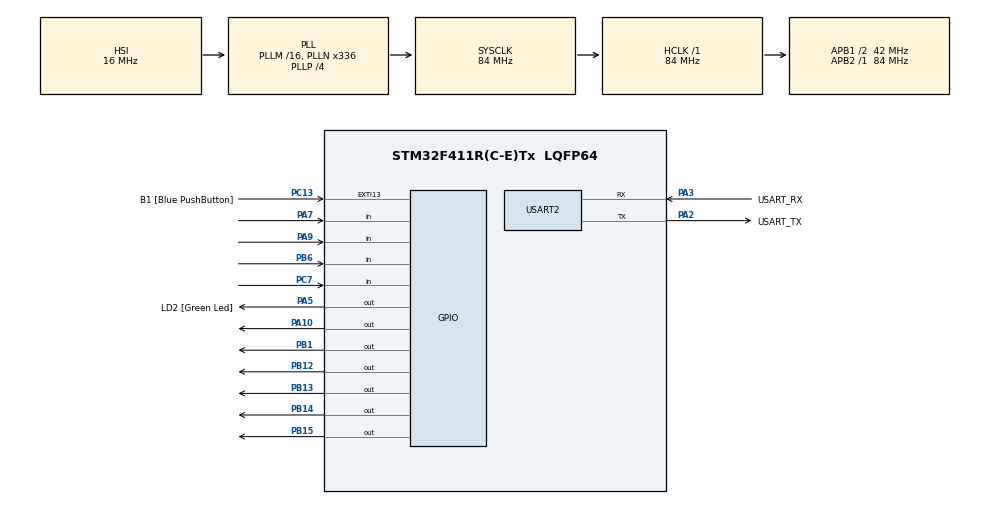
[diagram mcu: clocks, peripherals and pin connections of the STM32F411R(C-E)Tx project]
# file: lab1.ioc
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Mcu.Family=STM32F4
Mcu.Name=STM32F411R(C-E)Tx
Mcu.Package=LQFP64
NVIC.PriorityGroup=NVIC_PRIORITYGROUP_0
PA10.Signal=GPIO_Output
PA13.GPIO_Label=TMS
PA13.Mode=Serial_Wire
PA13.Signal=SYS_JTMS-SWDIO
PA14.GPIO_Label=TCK
PA14.Mode=Serial_Wire
PA14.Signal=SYS_JTCK-SWCLK
PA2.GPIO_Label=USART_TX
PA2.Mode=Asynchronous
PA2.Signal=USART2_TX
PA3.GPIO_Label=USART_RX
PA3.Mode=Asynchronous
PA3.Signal=USART2_RX
PA5.GPIO_Label=LD2 [Green Led]
PA5.Signal=GPIO_Output
PA7.GPIO_PuPd=GPIO_PULLUP
PA7.Signal=GPIO_Input
PA9.GPIO_PuPd=GPIO_PULLUP
PA9.Signal=GPIO_Input
PB1.GPIO_ModeDefaultOutputPP=GPIO_MODE_OUTPUT_OD
PB1.GPIO_PuPd=GPIO_NOPULL
PB1.Signal=GPIO_Output
PB12.Signal=GPIO_Output
PB13.GPIO_ModeDefaultOutputPP=GPIO_MODE_OUTPUT_OD
PB13.GPIO_PuPd=GPIO_NOPULL
PB13.Signal=GPIO_Output
PB14.GPIO_ModeDefaultOutputPP=GPIO_MODE_OUTPUT_OD
PB14.GPIO_PuPd=GPIO_NOPULL
PB14.Signal=GPIO_Output
PB15.GPIO_ModeDefaultOutputPP=GPIO_MODE_OUTPUT_OD
PB15.GPIO_PuPd=GPIO_NOPULL
PB15.Signal=GPIO_Output
PB3.GPIO_Label=SWO
PB3.Signal=SYS_JTDO-SWO
PB6.GPIO_PuPd=GPIO_PULLUP
PB6.Signal=GPIO_Input
PC13-ANTI_TAMP.GPIO_Label=B1 [Blue PushButton]
PC13-ANTI_TAMP.GPIO_ModeDefaultEXTI=GPIO_MODE_IT_FALLING
PC13-ANTI_TAMP.Signal=GPXTI13
PC14-OSC32_IN.Mode=LSE-External-Oscillator
PC14-OSC32_IN.Signal=RCC_OSC32_IN
PC15-OSC32_OUT.Mode=LSE-External-Oscillator
PC15-OSC32_OUT.Signal=RCC_OSC32_OUT
PC7.GPIO_PuPd=GPIO_PULLUP
PC7.Signal=GPIO_Input
PH0\ -\ OSC_IN.Mode=HSE-External-Clock-Source
PH0\ -\ OSC_IN.Signal=RCC_OSC_IN
PH1\ -\ OSC_OUT.Mode=HSE-External-Clock-Source
PH1\ -\ OSC_OUT.Signal=RCC_OSC_OUT
ProjectManager.HeapSize=0x200
ProjectManager.StackSize=0x400
ProjectManager.TargetToolchain=STM32CubeIDE
RCC.48MHZClocksFreq_Value=84000000
RCC.AHBFreq_Value=84000000
RCC.APB1CLKDivider=RCC_HCLK_DIV2
RCC.APB1Freq_Value=42000000
RCC.APB1TimFreq_Value=84000000
RCC.APB2Freq_Value=84000000
RCC.APB2TimFreq_Value=84000000
RCC.CortexFreq_Value=84000000
RCC.FLatency-AdvancedSettings=FLASH_LATENCY_2
RCC.HCLKFreq_Value=84000000
RCC.HSE_VALUE=8000000
RCC.HSI_VALUE=16000000
RCC.PLLN=336
RCC.PLLP=RCC_PLLP_DIV4
RCC.SYSCLKFreq_VALUE=84000000
RCC.SYSCLKSource=RCC_SYSCLKSOURCE_PLLCLK
RCC.VCOOutputFreq_Value=336000000
USART2.VirtualMode=VM_ASYNC
board=NUCLEO-F411RE

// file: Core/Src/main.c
/* USER CODE BEGIN Header */
/**
 ******************************************************************************
 * @file           : main.c
 * @brief          : Main program body
 ******************************************************************************
 * @attention
 *
 * Copyright (c) 2023 STMicroelectronics.
 * All rights reserved.
 *
 * This software is licensed under terms that can be found in the LICENSE file
 * in the root directory of this software component.
 * If no LICENSE file comes with this software, it is provided AS-IS.
 *
 ******************************************************************************
 */
/* USER CODE END Header */
#include "main.h"

UART_HandleTypeDef huart2;

/* USER CODE BEGIN PV */
struct PortPin {
	GPIO_TypeDef *PORT;
	uint16_t PIN;
};

struct PortPin R[4] = { { GPIOB, GPIO_PIN_13 },
						{ GPIOB, GPIO_PIN_14 },
						{ GPIOB, GPIO_PIN_15 },
						{ GPIOB, GPIO_PIN_1 } };

struct PortPin L[4] = { { GPIOA, GPIO_PIN_9 },
						{ GPIOC, GPIO_PIN_7 },
						{ GPIOB, GPIO_PIN_6 },
						{ GPIOA, GPIO_PIN_7 } };

uint16_t ButtonMatrix = 0, ButtonMatrix_L = 0;
int Input_st = 0, state_st = 0;
int CLK_F = 0, M_c = 0;

/* USER CODE END PV */

void SystemClock_Config(void);
static void MX_GPIO_Init(void);
static void MX_USART2_UART_Init(void);
/* USER CODE BEGIN PFP */
void ReadMatrixButtton_1Row();
/* USER CODE END PFP */

int main(void) {

	/* MCU Configuration--------------------------------------------------------*/

	/* Reset of all peripherals, Initializes the Flash interface and the Systick. */
	HAL_Init();

	/* Configure the system clock */
	SystemClock_Config();

	/* Initialize all configured peripherals */
	MX_GPIO_Init();
	MX_USART2_UART_Init();

	/* Infinite loop */
	while (1) {

		/* USER CODE BEGIN 3 */

		static uint32_t timestamp = 0;
		if (HAL_GetTick() >= timestamp) {
			timestamp = HAL_GetTick() + 10;
			ReadMatrixButtton_1Row();
		}

		if (ButtonMatrix > ButtonMatrix_L) {
			CLK_F = 1;
		} else {
			CLK_F = 0;
		}
		ButtonMatrix_L = ButtonMatrix;

		switch (Input_st) {
		case (0):
			state_st = 0;
			HAL_GPIO_WritePin(GPIOA, GPIO_PIN_5, 0);
			if (CLK_F == 1) {
				if (ButtonMatrix == 0x200) {
					Input_st = 1;
				} else if (ButtonMatrix == 0x1000) {
					Input_st = 0;
				} else if (ButtonMatrix == 0x2000) {
					Input_st = 0;
				} else if (ButtonMatrix == 0x8000) {
					Input_st = 0;
				} else if (ButtonMatrix == 0) {
					Input_st = 0;
				} else {
					Input_st = 12;
				}
			}
			break;
		case (1):
			state_st = 1;
			HAL_GPIO_WritePin(GPIOA, GPIO_PIN_5, 0);
			if (CLK_F == 1) {
				if (ButtonMatrix == 0x2) {
					Input_st = 2;
				} else if (ButtonMatrix == 0x1000) {
					Input_st = 0;
				} else if (ButtonMatrix == 0x2000) {
					Input_st = 0;
				} else if (ButtonMatrix == 0x8000) {
					Input_st = 1;
				} else if (ButtonMatrix == 0) {
					Input_st = 1;
				} else {
					Input_st = 12;
				}
			}
			break;
		case (2):
			state_st = 2;
			HAL_GPIO_WritePin(GPIOA, GPIO_PIN_5, 0);
			if (CLK_F == 1) {
				if (ButtonMatrix == 0x400) {
					Input_st = 3;
				} else if (ButtonMatrix == 0x1000) {
					Input_st = 0;
				} else if (ButtonMatrix == 0x2000) {
					Input_st = 1;
				} else if (ButtonMatrix == 0x8000) {
					Input_st = 2;
				} else if (ButtonMatrix == 0) {
					Input_st = 2;
				} else {
					Input_st = 12;
				}
			}
			break;
		case (3):
			state_st = 3;
			HAL_GPIO_WritePin(GPIOA, GPIO_PIN_5, 0);
			if (CLK_F == 1) {
				if (ButtonMatrix == 0x2) {
					Input_st = 4;
				} else if (ButtonMatrix == 0x1000) {
					Input_st = 0;
				} else if (ButtonMatrix == 0x2000) {
					Input_st = 2;
				} else if (ButtonMatrix == 0x8000) {
					Input_st = 3;
				} else if (ButtonMatrix == 0) {
					Input_st = 3;
				} else {
					Input_st = 12;
				}
			}
			break;
		case (4):
			state_st = 4;
			HAL_GPIO_WritePin(GPIOA, GPIO_PIN_5, 0);
			if (CLK_F == 1) {
				if (ButtonMatrix == 0x8) {
					Input_st = 5;
				} else if (ButtonMatrix == 0x1000) {
					Input_st = 0;
				} else if (ButtonMatrix == 0x2000) {
					Input_st = 3;
				} else if (ButtonMatrix == 0x8000) {
					Input_st = 4;
				} else if (ButtonMatrix == 0) {
					Input_st = 4;
				} else {
					Input_st = 12;
				}
			}
			break;
		case (5):
			state_st = 5;
			HAL_GPIO_WritePin(GPIOA, GPIO_PIN_5, 0);
			if (CLK_F == 1) {
				if (ButtonMatrix == 0x20) {
					Input_st = 6;
				} else if (ButtonMatrix == 0x1000) {
					Input_st = 0;
				} else if (ButtonMatrix == 0x2000) {
					Input_st = 4;
				} else if (ButtonMatrix == 0x8000) {
					Input_st = 5;
				} else if (ButtonMatrix == 0) {
					Input_st = 5;
				} else {
					Input_st = 12;
				}
			}
			break;
		case (6):
			state_st = 6;
			HAL_GPIO_WritePin(GPIOA, GPIO_PIN_5, 0);
			if (CLK_F == 1) {
				if (ButtonMatrix == 0x8) {
					Input_st = 7;
				} else if (ButtonMatrix == 0x1000) {
					Input_st = 0;
				} else if (ButtonMatrix == 0x2000) {
					Input_st = 5;
				} else if (ButtonMatrix == 0x8000) {
					Input_st = 6;
				} else if (ButtonMatrix == 0) {
					Input_st = 6;
				} else {
					Input_st = 12;
				}
			}
			break;
		case (7):
			state_st = 7;
			HAL_GPIO_WritePin(GPIOA, GPIO_PIN_5, 0);
			if (CLK_F == 1) {
				if (ButtonMatrix == 0x8) {
					Input_st = 8;
				} else if (ButtonMatrix == 0x1000) {
					Input_st = 0;
				} else if (ButtonMatrix == 0x2000) {
					Input_st = 6;
				} else if (ButtonMatrix == 0x8000) {
					Input_st = 7;
				} else if (ButtonMatrix == 0) {
					Input_st = 7;
				} else {
					Input_st = 12;
				}
			}
			break;
		case (8):
			state_st = 8;
			HAL_GPIO_WritePin(GPIOA, GPIO_PIN_5, 0);
			if (CLK_F == 1) {
				if (ButtonMatrix == 0x8) {
					Input_st = 9;
				} else if (ButtonMatrix == 0x1000) {
					Input_st = 0;
				} else if (ButtonMatrix == 0x2000) {
					Input_st = 7;
				} else if (ButtonMatrix == 0x8000) {
					Input_st = 8;
				} else if (ButtonMatrix == 0) {
					Input_st = 8;
				} else {
					Input_st = 12;
				}
			}
			break;
		case (9):
			state_st = 9;
			HAL_GPIO_WritePin(GPIOA, GPIO_PIN_5, 0);
			if (CLK_F == 1) {
				if (ButtonMatrix == 0x400) {
					Input_st = 10;
				} else if (ButtonMatrix == 0x1000) {
					Input_st = 0;
				} else if (ButtonMatrix == 0x2000) {
					Input_st = 8;
				} else if (ButtonMatrix == 0x8000) {
					Input_st = 9;
				} else if (ButtonMatrix == 0) {
					Input_st = 9;
				} else {
					Input_st = 12;
				}
			}
			break;
		case (10):
			state_st = 10;
			HAL_GPIO_WritePin(GPIOA, GPIO_PIN_5, 0);
			if (CLK_F == 1) {
				if (ButtonMatrix == 0x200) {
					Input_st = 11;
				} else if (ButtonMatrix == 0x1000) {
					Input_st = 0;
				} else if (ButtonMatrix == 0x2000) {
					Input_st = 9;
				} else if (ButtonMatrix == 0x8000) {
					Input_st = 10;
				} else if (ButtonMatrix == 0) {
					Input_st = 10;
				} else {
					Input_st = 12;
				}
			}
			break;
		case (11):
			state_st = 11;
			if (CLK_F == 1) {
				if (ButtonMatrix == 0x8000) {
					HAL_GPIO_WritePin(GPIOA, GPIO_PIN_5, 1);
				} else if (ButtonMatrix == 0) {
					Input_st = 11;
				} else if (ButtonMatrix == 0x2000) {
					Input_st = 10;
				} else if (ButtonMatrix == 0x1000) {
					Input_st = 0;
				} else {
					Input_st = 12;
				}
			}
			break;
		case (12):
			HAL_GPIO_WritePin(GPIOA, GPIO_PIN_5, 0);
			if (CLK_F == 1) {
				if (ButtonMatrix == 0x1000) {
					Input_st = 0;
					M_c = 0;
				} else if (ButtonMatrix == 0x8000) {
					Input_st = 12;
				} else if (M_c == 0 && ButtonMatrix == 0x2000) {
					Input_st = state_st;
				} else if (ButtonMatrix == 0x2000) {
					M_c -= 1;
					Input_st = 12;
				} else {
					M_c++;
					Input_st = 12;
				}
			}
			break;

		}
	}
	/* USER CODE END 3 */
}

void SystemClock_Config(void) {
	RCC_OscInitTypeDef RCC_OscInitStruct = { 0 };
	RCC_ClkInitTypeDef RCC_ClkInitStruct = { 0 };

	/** Configure the main internal regulator output voltage
	 */
	__HAL_RCC_PWR_CLK_ENABLE();
	__HAL_PWR_VOLTAGESCALING_CONFIG(PWR_REGULATOR_VOLTAGE_SCALE1);

	/** Initializes the RCC Oscillators according to the specified parameters
	 * in the RCC_OscInitTypeDef structure.
	 */
	RCC_OscInitStruct.OscillatorType = RCC_OSCILLATORTYPE_HSI;
	RCC_OscInitStruct.HSIState = RCC_HSI_ON;
	RCC_OscInitStruct.HSICalibrationValue = RCC_HSICALIBRATION_DEFAULT;
	RCC_OscInitStruct.PLL.PLLState = RCC_PLL_ON;
	RCC_OscInitStruct.PLL.PLLSource = RCC_PLLSOURCE_HSI;
	RCC_OscInitStruct.PLL.PLLM = 16;
	RCC_OscInitStruct.PLL.PLLN = 336;
	RCC_OscInitStruct.PLL.PLLP = RCC_PLLP_DIV4;
	RCC_OscInitStruct.PLL.PLLQ = 4;
	if (HAL_RCC_OscConfig(&RCC_OscInitStruct) != HAL_OK) {
		Error_Handler();
	}

	/** Initializes the CPU, AHB and APB buses clocks
	 */
	RCC_ClkInitStruct.ClockType = RCC_CLOCKTYPE_HCLK | RCC_CLOCKTYPE_SYSCLK
			| RCC_CLOCKTYPE_PCLK1 | RCC_CLOCKTYPE_PCLK2;
	RCC_ClkInitStruct.SYSCLKSource = RCC_SYSCLKSOURCE_PLLCLK;
	RCC_ClkInitStruct.AHBCLKDivider = RCC_SYSCLK_DIV1;
	RCC_ClkInitStruct.APB1CLKDivider = RCC_HCLK_DIV2;
	RCC_ClkInitStruct.APB2CLKDivider = RCC_HCLK_DIV1;

	if (HAL_RCC_ClockConfig(&RCC_ClkInitStruct, FLASH_LATENCY_2) != HAL_OK) {
		Error_Handler();
	}
}

static void MX_USART2_UART_Init(void) {

	huart2.Instance = USART2;
	huart2.Init.BaudRate = 115200;
	huart2.Init.WordLength = UART_WORDLENGTH_8B;
	huart2.Init.StopBits = UART_STOPBITS_1;
	huart2.Init.Parity = UART_PARITY_NONE;
	huart2.Init.Mode = UART_MODE_TX_RX;
	huart2.Init.HwFlowCtl = UART_HWCONTROL_NONE;
	huart2.Init.OverSampling = UART_OVERSAMPLING_16;
	if (HAL_UART_Init(&huart2) != HAL_OK) {
		Error_Handler();
	}

}

static void MX_GPIO_Init(void) {
	GPIO_InitTypeDef GPIO_InitStruct = { 0 };

	/* GPIO Ports Clock Enable */
	__HAL_RCC_GPIOC_CLK_ENABLE();
	__HAL_RCC_GPIOH_CLK_ENABLE();
	__HAL_RCC_GPIOA_CLK_ENABLE();
	__HAL_RCC_GPIOB_CLK_ENABLE();

	/*Configure GPIO pin Output Level */
	HAL_GPIO_WritePin(GPIOA, LD2_Pin | GPIO_PIN_10, GPIO_PIN_RESET);

	/*Configure GPIO pin Output Level */
	HAL_GPIO_WritePin(GPIOB,
	GPIO_PIN_1 | GPIO_PIN_12 | GPIO_PIN_13 | GPIO_PIN_14 | GPIO_PIN_15,
			GPIO_PIN_RESET);

	/*Configure GPIO pin : B1_Pin */
	GPIO_InitStruct.Pin = B1_Pin;
	GPIO_InitStruct.Mode = GPIO_MODE_IT_FALLING;
	GPIO_InitStruct.Pull = GPIO_NOPULL;
	HAL_GPIO_Init(B1_GPIO_Port, &GPIO_InitStruct);

	/*Configure GPIO pins : LD2_Pin PA10 */
	GPIO_InitStruct.Pin = LD2_Pin | GPIO_PIN_10;
	GPIO_InitStruct.Mode = GPIO_MODE_OUTPUT_PP;
	GPIO_InitStruct.Pull = GPIO_NOPULL;
	GPIO_InitStruct.Speed = GPIO_SPEED_FREQ_LOW;
	HAL_GPIO_Init(GPIOA, &GPIO_InitStruct);

	/*Configure GPIO pins : PA7 PA9 */
	GPIO_InitStruct.Pin = GPIO_PIN_7 | GPIO_PIN_9;
	GPIO_InitStruct.Mode = GPIO_MODE_INPUT;
	GPIO_InitStruct.Pull = GPIO_PULLUP;
	HAL_GPIO_Init(GPIOA, &GPIO_InitStruct);

	/*Configure GPIO pins : PB1 PB13 PB14 PB15 */
	GPIO_InitStruct.Pin = GPIO_PIN_1 | GPIO_PIN_13 | GPIO_PIN_14 | GPIO_PIN_15;
	GPIO_InitStruct.Mode = GPIO_MODE_OUTPUT_OD;
	GPIO_InitStruct.Pull = GPIO_NOPULL;
	GPIO_InitStruct.Speed = GPIO_SPEED_FREQ_LOW;
	HAL_GPIO_Init(GPIOB, &GPIO_InitStruct);

	/*Configure GPIO pin : PB12 */
	GPIO_InitStruct.Pin = GPIO_PIN_12;
	GPIO_InitStruct.Mode = GPIO_MODE_OUTPUT_PP;
	GPIO_InitStruct.Pull = GPIO_NOPULL;
	GPIO_InitStruct.Speed = GPIO_SPEED_FREQ_LOW;
	HAL_GPIO_Init(GPIOB, &GPIO_InitStruct);

	/*Configure GPIO pin : PC7 */
	GPIO_InitStruct.Pin = GPIO_PIN_7;
	GPIO_InitStruct.Mode = GPIO_MODE_INPUT;
	GPIO_InitStruct.Pull = GPIO_PULLUP;
	HAL_GPIO_Init(GPIOC, &GPIO_InitStruct);

	/*Configure GPIO pin : PB6 */
	GPIO_InitStruct.Pin = GPIO_PIN_6;
	GPIO_InitStruct.Mode = GPIO_MODE_INPUT;
	GPIO_InitStruct.Pull = GPIO_PULLUP;
	HAL_GPIO_Init(GPIOB, &GPIO_InitStruct);

}

/* USER CODE BEGIN 4 */
void ReadMatrixButtton_1Row() {
	static uint8_t x = 0;
	register int i;
	for (i = 0; i < 4; i++) {
		if (HAL_GPIO_ReadPin(L[i].PORT, L[i].PIN)) {
			ButtonMatrix &= ~(1 << ((x * 4) + i));
		} else {
			ButtonMatrix |= (1 << ((x * 4) + i));
		}

	}
	HAL_GPIO_WritePin(R[x].PORT, R[x].PIN, 1);
	HAL_GPIO_WritePin(R[(x + 1) % 4].PORT, R[(x + 1) % 4].PIN, 0);
	x++;
	x %= 4;
}
/* USER CODE END 4 */

void Error_Handler(void) {
	__disable_irq();
	while (1) {
	}
}
